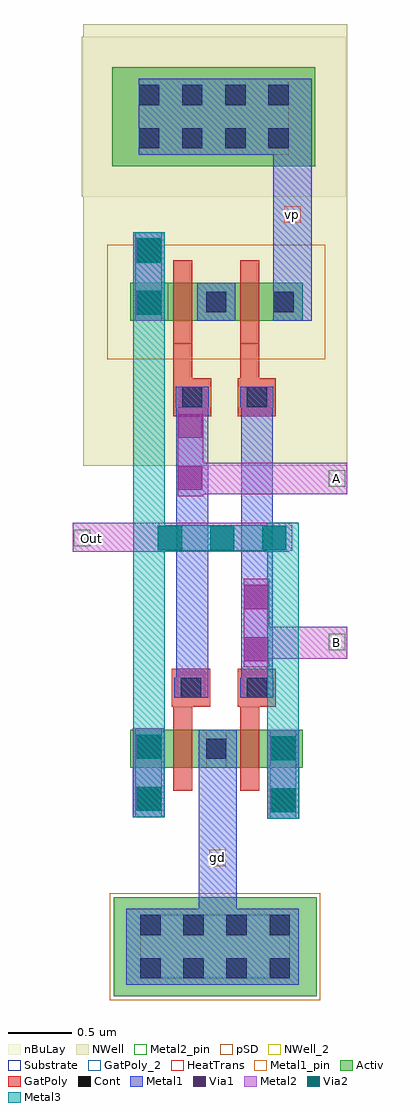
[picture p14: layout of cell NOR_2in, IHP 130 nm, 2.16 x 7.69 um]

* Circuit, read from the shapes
.subckt NOR_2in A B Out gd vp
XM1 gd A Out gd sg13_lv_nmos w=0.3u l=0.15u
XM2 Out B gd gd sg13_lv_nmos w=0.3u l=0.15u
XM3 n1 A Out vp sg13_lv_pmos w=0.3u l=0.15u
XM4 vp B n1 vp sg13_lv_pmos w=0.3u l=0.15u
.ends

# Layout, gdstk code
from math import pi, radians
import gdstk
lib = gdstk.Library(unit=1e-6, precision=1e-09)
def R(c, l, rs):  # rectangles x0, y0, x1, y1
    for r in rs: c.add(gdstk.rectangle(r[:2], r[2:], *l))
def A(c, l, x, y, w, h, nx, ny, dx, dy):  # array of equal rectangles
    R(c, l, [(x+i*dx, y+j*dy, x+i*dx+w, y+j*dy+h) for i in range(nx) for j in range(ny)])
Activ = (1, 0)
GatPoly = (5, 0)
GatPoly_2 = (5, 2)
Cont = (6, 0)
Metal1 = (8, 0)
Metal1_pin = (8, 2)
Metal2 = (10, 0)
Metal2_pin = (10, 2)
pSD = (14, 0)
Via1 = (19, 0)
Via2 = (29, 0)
Metal3 = (30, 0)
NWell = (31, 0)
NWell_2 = (31, 2)
nBuLay = (32, 0)
Substrate = (40, 0)
HeatTrans = (51, 0)

pmos_8 = lib.new_cell('pmos$8')
R(pmos_8, Activ, [(0,0,0.3,0.3), (0,0,0.83,0.3), (0.53,0,0.83,0.3)])
R(pmos_8, GatPoly, [(0.34,-0.18,0.49,0.48), (0.34,-0.18,0.49,0.48)])
R(pmos_8, Cont, [(0.07,0.07,0.23,0.23), (0.6,0.07,0.76,0.23)])
R(pmos_8, Metal1, [(0.07,0,0.23,0.3), (0.07,0,0.23,0.3), (0.6,0,0.76,0.3), (0.6,0,0.76,0.3)])
R(pmos_8, pSD, [(-0.18,-0.3,1.01,0.6)])
R(pmos_8, NWell, [(-0.31,-0.31,1.14,0.61)])
R(pmos_8, Substrate, [(0.53,0,0.83,0.3)])
R(pmos_8, HeatTrans, [(0.34,-0.18,0.49,0.48)])
pmos_8.add(gdstk.Label('pmos', (0.415,0.15), layer=63, texttype=0))
pmos_8.add(gdstk.Label('pmos', (0.415,0.15), layer=51, texttype=0))

ntap1_27 = lib.new_cell('ntap1$27')
R(ntap1_27, Activ, [(0,0,1.6,0.78)])
A(ntap1_27, Cont, 0.21, 0.14, 0.16, 0.16, 4, 2, 0.34, 0.34)
R(ntap1_27, Metal1, [(0.21,0.09,1.39,0.69)])
R(ntap1_27, Metal1_pin, [(0.21,0.09,1.39,0.69), (0.21,0.14,1.39,0.64)])
R(ntap1_27, NWell, [(-0.24,-0.24,1.84,1.02), (0,0,1.6,0.78)])
R(ntap1_27, NWell_2, [(0,0,1.6,0.78)])
R(ntap1_27, nBuLay, [(-0.24,-0.24,1.84,1.02)])
ntap1_27.add(gdstk.Label('well', (0.8,0.01), layer=63, texttype=0))
ntap1_27.add(gdstk.Label('well', (0.8,0.01), layer=31, texttype=0))

via_5_16 = lib.new_cell('Via$5$16')
R(via_5_16, GatPoly, [(-0.15,-0.15,0.15,0.15)])
R(via_5_16, Cont, [(-0.08,-0.08,0.08,0.08)])
R(via_5_16, Metal1, [(-0.13,-0.08,0.13,0.08)])

via_6_6 = lib.new_cell('Via$6$6')
R(via_6_6, Metal1, [(-0.105,-0.35,0.105,0.35)])
R(via_6_6, Metal2, [(-0.1,-0.35,0.1,0.35)])
R(via_6_6, Via1, [(-0.095,-0.3,0.095,-0.11), (-0.095,0.11,0.095,0.3)])

ptap1_22 = lib.new_cell('ptap1$22')
R(ptap1_22, Activ, [(0,0,1.6,0.78)])
A(ptap1_22, Cont, 0.21, 0.14, 0.16, 0.16, 4, 2, 0.34, 0.34)
R(ptap1_22, Metal1, [(0.21,0.09,1.39,0.69), (0.21,0.14,1.39,0.64)])
R(ptap1_22, Metal1_pin, [(0.21,0.14,1.39,0.64)])
R(ptap1_22, pSD, [(-0.03,-0.03,1.63,0.81)])
R(ptap1_22, Substrate, [(0,0,1.6,0.78)])
ptap1_22.add(gdstk.Label('sub!', (0.8,0.01), layer=63, texttype=0))
ptap1_22.add(gdstk.Label('sub!', (0.8,0.01), layer=40, texttype=0))

nmos_10 = lib.new_cell('nmos$10')
R(nmos_10, Activ, [(0,0,0.3,0.3), (0,0,0.83,0.3), (0.53,0,0.83,0.3)])
R(nmos_10, GatPoly, [(0.34,-0.18,0.49,0.48)])
R(nmos_10, GatPoly_2, [(0.34,-0.18,0.49,0.48)])
R(nmos_10, Cont, [(0.07,0.07,0.23,0.23), (0.6,0.07,0.76,0.23)])
R(nmos_10, Metal1, [(0.07,0,0.23,0.3), (0.6,0,0.76,0.3)])
R(nmos_10, Metal1_pin, [(0.07,0,0.23,0.3), (0.6,0,0.76,0.3)])
R(nmos_10, HeatTrans, [(0.34,-0.18,0.49,0.48)])
nmos_10.add(gdstk.Label('nmos', (0.415,0.15), layer=63, texttype=0))
nmos_10.add(gdstk.Label('nmos', (0.415,0.15), layer=51, texttype=0))

via_32 = lib.new_cell('Via$32')
R(via_32, Metal2, [(-0.1,-0.35,0.1,0.35)])
R(via_32, Via2, [(-0.095,-0.3,0.095,-0.11), (-0.095,0.11,0.095,0.3)])
R(via_32, Metal3, [(-0.1,-0.35,0.1,0.35)])

via_7_6 = lib.new_cell('Via$7$6')
R(via_7_6, Metal2, [(-0.555,-0.1,0.555,0.1)])
A(via_7_6, Via2, -0.505, -0.095, 0.19, 0.19, 3, 1, 0.41, 0)
R(via_7_6, Metal3, [(-0.555,-0.1,0.555,0.1)])

nor_2in = lib.new_cell('NOR_2in')
R(nor_2in, GatPoly, [(4.19,0.13,4.34,0.41), (4.72,0.14,4.87,0.41)])
R(nor_2in, Metal1, [(3.82,-4.64,5.18,-4.04), (4.38,0.59,4.68,0.89)])
R(nor_2in, Metal1_pin, [(4.475,-3.705,4.605,-3.575), (5.065,1.365,5.195,1.495)])
R(nor_2in, Metal2, [(3.4,-1.23,5.105,-1)])
R(nor_2in, Metal2_pin, [(5.415,-2.005,5.545,-1.875), (3.405,-1.185,3.535,-1.055), (5.415,-0.715,5.545,-0.585)])
R(nor_2in, NWell, [(3.48,-0.55,5.56,2.93)])
nor_2in.add(gdstk.FlexPath([(5.13,0.59),(5.13,2.5)], 0.3, ends="flush", simple_path=True, layer=8, datatype=0))  # Metal1
nor_2in.add(gdstk.FlexPath([(4.85,0.07),(4.85,-2.38)], 0.25, ends="flush", simple_path=True, layer=8, datatype=0))  # Metal1
nor_2in.add(gdstk.FlexPath([(4.34,0.07),(4.34,-2.38)], 0.25, ends="flush", simple_path=True, layer=8, datatype=0))  # Metal1
nor_2in.add(gdstk.FlexPath([(4.54,-2.63),(4.54,-4.04)], 0.3, ends="flush", simple_path=True, layer=8, datatype=0))  # Metal1
nor_2in.add(gdstk.FlexPath([(3.995,-2.62),(3.995,-3.32)], 0.25, ends="flush", simple_path=True, layer=10, datatype=0))  # Metal2
nor_2in.add(gdstk.FlexPath([(5.06,-2.63),(5.06,-3.33)], 0.25, ends="flush", simple_path=True, layer=10, datatype=0))  # Metal2
nor_2in.add(gdstk.FlexPath([(4,1.29),(4,0.59)], 0.25, ends="flush", simple_path=True, layer=10, datatype=0))  # Metal2
nor_2in.add(gdstk.FlexPath([(4.23,-0.65),(5.56,-0.65)], 0.25, ends="flush", simple_path=True, layer=10, datatype=0))  # Metal2
nor_2in.add(gdstk.FlexPath([(4.745,-1.945),(5.56,-1.945)], 0.25, ends="flush", simple_path=True, layer=10, datatype=0))  # Metal2
nor_2in.add(gdstk.FlexPath([(4,-3.32),(4,1.29)], 0.25, ends="flush", simple_path=True, layer=30, datatype=0))  # Metal3
nor_2in.add(gdstk.FlexPath([(5.055,-3.33),(5.055,-1)], 0.25, ends="flush", simple_path=True, layer=30, datatype=0))  # Metal3
nor_2in.add(gdstk.Reference(pmos_8, (5.21,0.59), rotation=pi, x_reflection=True))
nor_2in.add(gdstk.Reference(pmos_8, (4.68,0.59), rotation=pi, x_reflection=True))
nor_2in.add(gdstk.Reference(ntap1_27, (5.31,1.81), rotation=pi, x_reflection=True))
nor_2in.add(gdstk.Reference(via_5_16, (4.85,-0.01), rotation=pi, x_reflection=True))
nor_2in.add(gdstk.Reference(via_5_16, (4.34,-0.01), rotation=pi, x_reflection=True))
nor_2in.add(gdstk.Reference(via_5_16, (4.85,-2.3), rotation=pi, x_reflection=True))
nor_2in.add(gdstk.Reference(via_5_16, (4.33,-2.3), rotation=pi, x_reflection=True))
nor_2in.add(gdstk.Reference(via_6_6, (4.845,-1.79), rotation=pi, x_reflection=True))
nor_2in.add(gdstk.Reference(via_6_6, (4.325,-0.44), rotation=pi, x_reflection=True))
nor_2in.add(gdstk.Reference(ptap1_22, (5.32,-4.73), rotation=pi, x_reflection=True))
nor_2in.add(gdstk.Reference(nmos_10, (5.21,-2.93), rotation=pi, x_reflection=True))
nor_2in.add(gdstk.Reference(nmos_10, (4.68,-2.93), rotation=pi, x_reflection=True))
nor_2in.add(gdstk.Reference(via_32, (4,0.94), rotation=pi, x_reflection=True))
nor_2in.add(gdstk.Reference(via_6_6, (3.995,0.94), rotation=pi, x_reflection=True))
nor_2in.add(gdstk.Reference(via_32, (4,-2.97), rotation=pi, x_reflection=True))
nor_2in.add(gdstk.Reference(via_6_6, (3.995,-2.97), rotation=pi, x_reflection=True))
nor_2in.add(gdstk.Reference(via_32, (5.06,-2.98), rotation=pi, x_reflection=True))
nor_2in.add(gdstk.Reference(via_6_6, (5.055,-2.98), rotation=pi, x_reflection=True))
nor_2in.add(gdstk.Reference(via_7_6, (4.575,-1.12), rotation=pi, x_reflection=True))
nor_2in.add(gdstk.Label('gd', (4.54,-3.64), layer=8, texttype=25))
nor_2in.add(gdstk.Label('vp', (5.13,1.43), layer=8, texttype=25))
nor_2in.add(gdstk.Label('Out', (3.55,-1.12), layer=10, texttype=25))
nor_2in.add(gdstk.Label('A', (5.48,-0.65), layer=10, texttype=25))
nor_2in.add(gdstk.Label('B', (5.48,-1.94), layer=10, texttype=25))

lib.write_gds('NOR_2in.gds')
